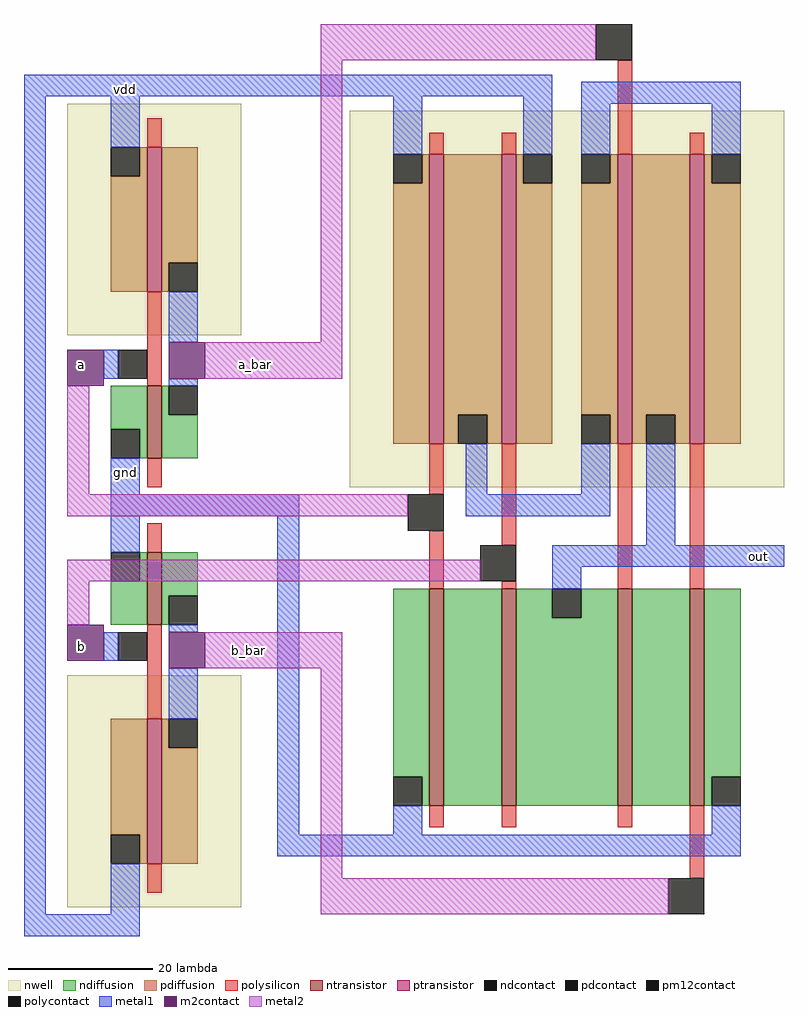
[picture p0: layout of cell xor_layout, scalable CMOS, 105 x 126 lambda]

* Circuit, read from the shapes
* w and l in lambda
.subckt xor_layout a a_bar b b_bar gnd out vdd
M1 b_bar b gnd VSUBS nfet w=10 l=2
M2 a_bar a gnd VSUBS nfet w=10 l=2
M3 n1 a gnd VSUBS nfet w=30 l=2
M4 out b n1 VSUBS nfet w=30 l=2
M5 n2 a_bar out VSUBS nfet w=30 l=2
M6 gnd b_bar n2 VSUBS nfet w=30 l=2
M7 b_bar b vdd n3 pfet w=20 l=2
M8 a_bar a vdd n4 pfet w=20 l=2
M9 n5 a vdd n6 pfet w=40 l=2
M10 vdd b n5 n6 pfet w=40 l=2
M11 out a_bar n5 n6 pfet w=40 l=2
M12 n5 b_bar out n6 pfet w=40 l=2
.ends

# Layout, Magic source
magic
tech scmos
<< nwell >>
rect -39 21 -15 53
rect 0 0 60 52
rect -39 -58 -15 -26
<< ntransistor >>
rect -28 4 -26 14
rect -28 -19 -26 -9
rect 11 -44 13 -14
rect 21 -44 23 -14
rect 37 -44 39 -14
rect 47 -44 49 -14
<< ptransistor >>
rect -28 27 -26 47
rect 11 6 13 46
rect 21 6 23 46
rect 37 6 39 46
rect 47 6 49 46
rect -28 -52 -26 -32
<< ndiffusion >>
rect -33 8 -28 14
rect -29 4 -28 8
rect -26 10 -25 14
rect -26 4 -21 10
rect -29 -13 -28 -9
rect -33 -19 -28 -13
rect -26 -15 -21 -9
rect -26 -19 -25 -15
rect 6 -40 11 -14
rect 10 -44 11 -40
rect 13 -44 21 -14
rect 23 -18 28 -14
rect 32 -18 37 -14
rect 23 -44 37 -18
rect 39 -44 47 -14
rect 49 -40 54 -14
rect 49 -44 50 -40
<< pdiffusion >>
rect -29 43 -28 47
rect -33 27 -28 43
rect -26 31 -21 47
rect -26 27 -25 31
rect 10 42 11 46
rect 6 6 11 42
rect 13 10 21 46
rect 13 6 15 10
rect 19 6 21 10
rect 23 42 24 46
rect 23 6 28 42
rect 36 42 37 46
rect 32 10 37 42
rect 36 6 37 10
rect 39 10 47 46
rect 39 6 41 10
rect 45 6 47 10
rect 49 42 50 46
rect 49 6 54 42
rect -33 -48 -28 -32
rect -29 -52 -28 -48
rect -26 -36 -25 -32
rect -26 -52 -21 -36
<< ndcontact >>
rect -33 4 -29 8
rect -25 10 -21 14
rect -33 -13 -29 -9
rect -25 -19 -21 -15
rect 6 -44 10 -40
rect 28 -18 32 -14
rect 50 -44 54 -40
<< pdcontact >>
rect -33 43 -29 47
rect -25 27 -21 31
rect 6 42 10 46
rect 15 6 19 10
rect 24 42 28 46
rect 32 42 36 46
rect 32 6 36 10
rect 41 6 45 10
rect 50 42 54 46
rect -33 -52 -29 -48
rect -25 -36 -21 -32
<< polysilicon >>
rect -28 47 -26 51
rect 11 46 13 49
rect 21 46 23 49
rect 37 46 39 59
rect 47 46 49 49
rect -28 14 -26 27
rect -28 0 -26 4
rect 11 -1 13 6
rect -28 -9 -26 -5
rect 11 -14 13 -6
rect 21 -8 23 6
rect 21 -14 23 -13
rect 37 -14 39 6
rect 47 -14 49 6
rect -28 -32 -26 -19
rect 11 -47 13 -44
rect 21 -47 23 -44
rect 37 -47 39 -44
rect -28 -56 -26 -52
rect 47 -54 49 -44
<< polycontact >>
rect -32 15 -28 19
rect -32 -24 -28 -20
<< metal1 >>
rect -45 54 28 57
rect -45 -59 -42 54
rect -33 47 -29 54
rect 6 46 10 54
rect 24 46 28 54
rect 32 53 54 56
rect 32 46 36 53
rect 50 46 54 53
rect -25 20 -21 27
rect -34 15 -32 19
rect -25 14 -21 15
rect -33 -1 -29 4
rect 16 -1 19 6
rect 32 -1 36 6
rect -33 -4 -7 -1
rect -33 -9 -29 -4
rect -25 -20 -21 -19
rect -34 -24 -32 -20
rect -25 -32 -21 -25
rect -10 -48 -7 -4
rect 16 -4 36 -1
rect 41 -8 45 6
rect 28 -11 60 -8
rect 28 -14 32 -11
rect 6 -48 10 -44
rect 50 -48 54 -44
rect -10 -51 54 -48
rect -33 -59 -29 -52
rect -45 -62 -29 -59
<< m2contact >>
rect -39 14 -34 19
rect -25 15 -20 20
rect -39 -24 -34 -19
rect -25 -25 -20 -20
<< pm12contact >>
rect 34 59 39 64
rect 8 -6 13 -1
rect 18 -13 23 -8
rect 44 -59 49 -54
<< metal2 >>
rect -4 59 34 64
rect -4 20 -1 59
rect -20 15 -1 20
rect -39 -1 -36 14
rect -39 -4 8 -1
rect -39 -13 18 -10
rect -39 -19 -36 -13
rect -20 -25 -1 -20
rect -4 -54 -1 -25
rect -4 -59 44 -54
<< labels >>
rlabel metal1 -32 1 -30 3 1 gnd
rlabel metal1 -32 54 -30 56 5 vdd
rlabel m2contact -38 -23 -36 -21 1 b
rlabel m2contact -38 16 -36 18 1 a
rlabel metal2 -14 16 -12 18 1 a_bar
rlabel metal2 -15 -23 -13 -22 1 b_bar
rlabel metal1 55 -10 58 -9 7 out
<< end >>
